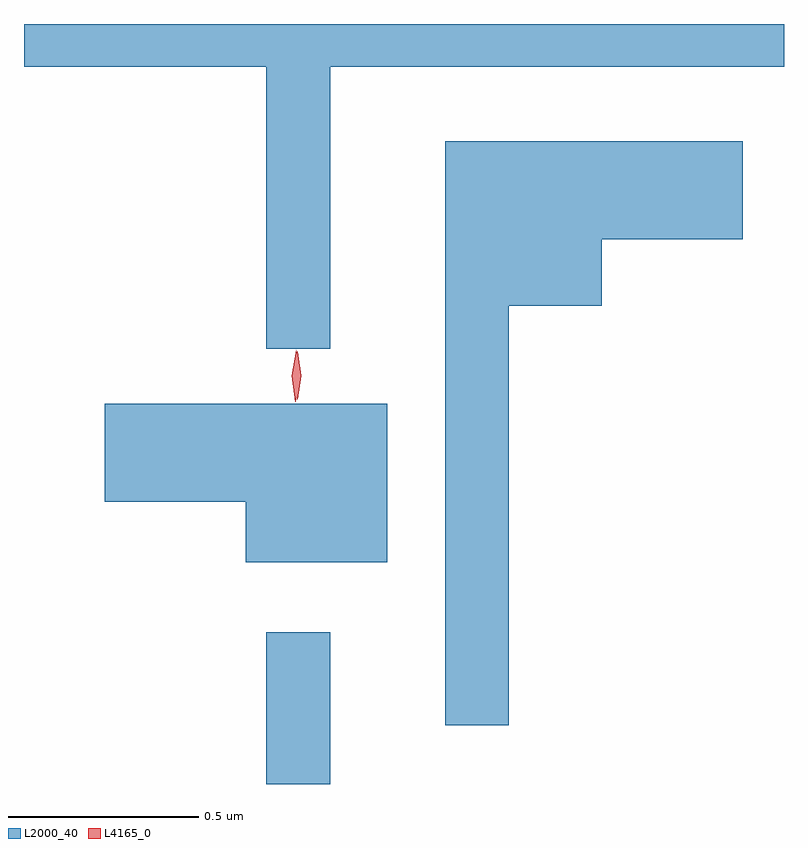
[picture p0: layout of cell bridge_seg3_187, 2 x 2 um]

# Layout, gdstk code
import gdstk
lib = gdstk.Library(unit=1e-6, precision=1e-09)
def R(c, l, rs):  # rectangles x0, y0, x1, y1
    for r in rs: c.add(gdstk.rectangle(r[:2], r[2:], *l))
def P(c, l, *ps):  # polygons
    for p in ps: c.add(gdstk.Polygon(p, *l))
L2000_40 = (2000, 40)
L4165_0 = (4165, 0)

bridge_seg3_187 = lib.new_cell('bridge_seg3_187')
R(bridge_seg3_187, L2000_40, [(720.401,1170.748,720.569,1171.148)])
P(bridge_seg3_187, L2000_40, [(720.569,1172.636),(721.763,1172.636),(721.763,1172.748),(719.763,1172.748),(719.763,1172.636),(720.401,1172.636),(720.401,1171.893),(720.569,1171.893)],
  [(721.039,1172.006),(721.284,1172.006),(721.284,1172.181),(721.654,1172.181),(721.654,1172.439),(720.871,1172.439),(720.871,1170.903),(721.039,1170.903)],
  [(720.719,1171.749),(719.976,1171.749),(719.976,1171.491),(720.346,1171.491),(720.346,1171.331),(720.719,1171.331)])
P(bridge_seg3_187, L4165_0, [(720.482,1171.76),(720.482,1171.76),(720.472,1171.823),(720.482,1171.886),(720.482,1171.887),(720.483,1171.886),(720.492,1171.823),(720.483,1171.76)],
  [(720.477,1171.754),(720.477,1171.754),(720.468,1171.822),(720.479,1171.89),(720.479,1171.89),(720.48,1171.89),(720.488,1171.822),(720.478,1171.754)])

lib.write_gds('bridge_seg3_187.gds')
